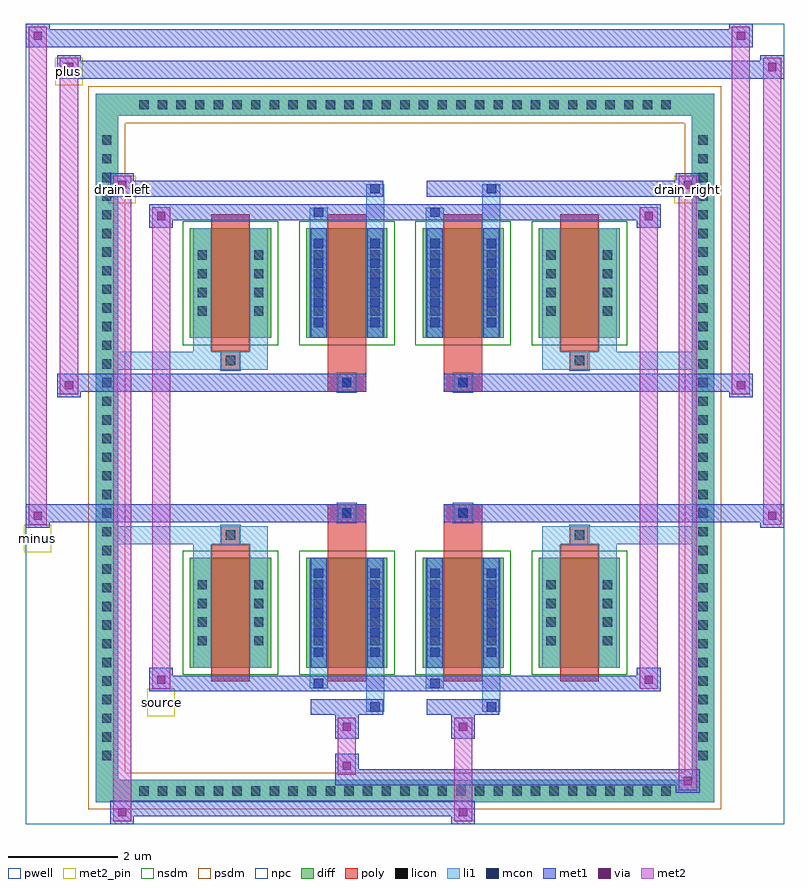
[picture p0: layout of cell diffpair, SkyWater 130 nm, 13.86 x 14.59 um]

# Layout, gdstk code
import gdstk
lib = gdstk.Library(unit=1e-6, precision=5e-09)
def R(c, l, rs):  # rectangles x0, y0, x1, y1
    for r in rs: c.add(gdstk.rectangle(r[:2], r[2:], *l))
def A(c, l, x, y, w, h, nx, ny, dx, dy):  # array of equal rectangles
    R(c, l, [(x+i*dx, y+j*dy, x+i*dx+w, y+j*dy+h) for i in range(nx) for j in range(ny)])
def P(c, l, *ps):  # polygons
    for p in ps: c.add(gdstk.Polygon(p, *l))
pwell = (64, 44)
diff = (65, 20)
poly = (66, 20)
licon = (66, 44)
li1 = (67, 20)
mcon = (67, 44)
met1 = (68, 20)
via = (68, 44)
met2_pin = (69, 16)
met2 = (69, 20)
nsdm = (93, 44)
psdm = (94, 20)
npc = (95, 20)

diffpair = lib.new_cell('diffpair')
R(diffpair, pwell, [(-6.91,-6.86,6.91,7.73), (-4.23,-5.05,-0.01,-0.825), (0.01,-5.05,4.23,-0.825), (-4.23,0.825,-0.01,5.05), (0.01,0.825,4.23,5.05)])
A(diffpair, diff, -4.965, -6.46, 0.41, 0.41, 29, 2, 0.34, 12.51)
A(diffpair, diff, -5.64, -5.815, 0.41, 0.41, 1, 34, 0, 0.34)
A(diffpair, diff, 5.23, -5.815, 0.41, 0.41, 1, 34, 0, 0.34)
A(diffpair, diff, -3.92, -4.005, 1.48, 2, 4, 2, 2.12, 6.01)
R(diffpair, diff, [(-4.965,-6.46,4.965,-6.05), (-5.64,-5.815,-5.23,5.815), (5.23,-5.815,5.64,5.815), (-4.965,6.05,4.965,6.46)])
P(diffpair, diff, [(5.64,6.46),(-5.64,6.46),(-5.64,-6.05),(-5.23,-6.05),(-5.23,6.05),(5.23,6.05),(5.23,-6.05),(-5.23,-6.05),(-5.64,-6.05),(-5.64,-6.46),(5.64,-6.46)])
A(diffpair, poly, -3.53, -4.255, 0.7, 2.5, 4, 2, 2.12, 6.01)
R(diffpair, poly, [(-3.345,-1.755,-3.015,-1.425), (-3.345,-1.755,-3.015,-1.425), (-1.41,-1.755,-0.71,-1.355), (0.71,-1.755,1.41,-1.355), (3.015,-1.755,3.345,-1.425), (3.015,-1.755,3.345,-1.425), (-1.41,-1.355,-0.71,-1.025), (-1.225,-1.355,-0.895,-1.025), (0.71,-1.355,1.41,-1.025), (0.895,-1.355,1.225,-1.025), (-1.41,1.025,-0.71,1.355), (-1.225,1.025,-0.895,1.355), (0.71,1.025,1.41,1.355), (0.895,1.025,1.225,1.355), (-1.41,1.355,-0.71,1.755), (0.71,1.355,1.41,1.755), (-3.345,1.425,-3.015,1.755), (-3.345,1.425,-3.015,1.755), (3.015,1.425,3.345,1.755), (3.015,1.425,3.345,1.755)])
A(diffpair, licon, -4.845, -6.34, 0.17, 0.17, 29, 2, 0.34, 12.51)
A(diffpair, licon, -5.52, -5.695, 0.17, 0.17, 1, 34, 0, 0.34)
A(diffpair, licon, 5.35, -5.695, 0.17, 0.17, 1, 34, 0, 0.34)
A(diffpair, licon, -3.78, -3.6, 0.17, 0.17, 1, 4, 0, 0.34)
A(diffpair, licon, -2.75, -3.6, 0.17, 0.17, 1, 4, 0, 0.34)
A(diffpair, licon, -1.66, -3.6, 0.17, 0.17, 1, 4, 0, 0.34)
A(diffpair, licon, -0.63, -3.6, 0.17, 0.17, 1, 4, 0, 0.34)
A(diffpair, licon, 0.46, -3.6, 0.17, 0.17, 1, 4, 0, 0.34)
A(diffpair, licon, 1.49, -3.6, 0.17, 0.17, 1, 4, 0, 0.34)
A(diffpair, licon, 2.58, -3.6, 0.17, 0.17, 1, 4, 0, 0.34)
A(diffpair, licon, 3.61, -3.6, 0.17, 0.17, 1, 4, 0, 0.34)
A(diffpair, licon, -3.78, 2.41, 0.17, 0.17, 1, 4, 0, 0.34)
A(diffpair, licon, -2.75, 2.41, 0.17, 0.17, 1, 4, 0, 0.34)
A(diffpair, licon, -1.66, 2.41, 0.17, 0.17, 1, 4, 0, 0.34)
A(diffpair, licon, -0.63, 2.41, 0.17, 0.17, 1, 4, 0, 0.34)
A(diffpair, licon, 0.46, 2.41, 0.17, 0.17, 1, 4, 0, 0.34)
A(diffpair, licon, 1.49, 2.41, 0.17, 0.17, 1, 4, 0, 0.34)
A(diffpair, licon, 2.58, 2.41, 0.17, 0.17, 1, 4, 0, 0.34)
A(diffpair, licon, 3.61, 2.41, 0.17, 0.17, 1, 4, 0, 0.34)
R(diffpair, licon, [(-3.265,-1.675,-3.095,-1.505), (3.095,-1.675,3.265,-1.505), (-1.145,-1.275,-0.975,-1.105), (0.975,-1.275,1.145,-1.105), (-1.145,1.105,-0.975,1.275), (0.975,1.105,1.145,1.275), (-3.265,1.505,-3.095,1.675), (3.095,1.505,3.265,1.675)])
A(diffpair, li1, -4.925, -6.42, 0.33, 0.33, 29, 2, 0.34, 12.51)
A(diffpair, li1, -5.6, -5.775, 0.33, 0.33, 1, 34, 0, 0.34)
A(diffpair, li1, 5.27, -5.775, 0.33, 0.33, 1, 34, 0, 0.34)
A(diffpair, li1, -1.66, -3.81, 0.17, 0.17, 1, 5, 0, 0.36)
A(diffpair, li1, -0.63, -3.81, 0.17, 0.17, 1, 5, 0, 0.36)
A(diffpair, li1, 0.46, -3.81, 0.17, 0.17, 1, 5, 0, 0.36)
A(diffpair, li1, 1.49, -3.81, 0.17, 0.17, 1, 5, 0, 0.36)
A(diffpair, li1, -3.86, -3.68, 0.33, 0.33, 1, 4, 0, 0.34)
A(diffpair, li1, -2.83, -3.68, 0.33, 0.33, 1, 4, 0, 0.34)
A(diffpair, li1, -1.74, -3.68, 0.33, 0.33, 1, 4, 0, 0.34)
A(diffpair, li1, -0.71, -3.68, 0.33, 0.33, 1, 4, 0, 0.34)
A(diffpair, li1, 0.38, -3.68, 0.33, 0.33, 1, 4, 0, 0.34)
A(diffpair, li1, 1.41, -3.68, 0.33, 0.33, 1, 4, 0, 0.34)
A(diffpair, li1, 2.5, -3.68, 0.33, 0.33, 1, 4, 0, 0.34)
A(diffpair, li1, 3.53, -3.68, 0.33, 0.33, 1, 4, 0, 0.34)
A(diffpair, li1, -1.66, 2.2, 0.17, 0.17, 1, 5, 0, 0.36)
A(diffpair, li1, -0.63, 2.2, 0.17, 0.17, 1, 5, 0, 0.36)
A(diffpair, li1, 0.46, 2.2, 0.17, 0.17, 1, 5, 0, 0.36)
A(diffpair, li1, 1.49, 2.2, 0.17, 0.17, 1, 5, 0, 0.36)
A(diffpair, li1, -3.86, 2.33, 0.33, 0.33, 1, 4, 0, 0.34)
A(diffpair, li1, -2.83, 2.33, 0.33, 0.33, 1, 4, 0, 0.34)
A(diffpair, li1, -1.74, 2.33, 0.33, 0.33, 1, 4, 0, 0.34)
A(diffpair, li1, -0.71, 2.33, 0.33, 0.33, 1, 4, 0, 0.34)
A(diffpair, li1, 0.38, 2.33, 0.33, 0.33, 1, 4, 0, 0.34)
A(diffpair, li1, 1.41, 2.33, 0.33, 0.33, 1, 4, 0, 0.34)
A(diffpair, li1, 2.5, 2.33, 0.33, 0.33, 1, 4, 0, 0.34)
A(diffpair, li1, 3.53, 2.33, 0.33, 0.33, 1, 4, 0, 0.34)
R(diffpair, li1, [(-5.64,-6.46,-5.23,-6.05), (-5.64,-6.46,-5.23,-6.05), (-5.23,-6.46,5.23,-6.05), (5.23,-6.46,5.64,-6.05), (5.23,-6.46,5.64,-6.05), (-5.64,-6.05,-5.23,6.05), (5.23,-6.05,5.64,6.05), (-0.71,-4.81,-0.38,-4.005), (-0.63,-4.81,-0.46,-4.64), (1.41,-4.81,1.74,-4.005), (1.49,-4.81,1.66,-4.64), (-1.74,-4.38,-1.41,-4.005), (-1.66,-4.38,-1.49,-4.21), (0.38,-4.38,0.71,-4.005), (0.46,-4.38,0.63,-4.21), (-3.86,-4.005,-3.53,-2.005), (-2.83,-4.005,-2.5,-2.005), (-1.74,-4.005,-1.41,-2.005), (-0.71,-4.005,-0.38,-2.005), (0.38,-4.005,0.71,-2.005), (1.41,-4.005,1.74,-2.005), (2.5,-4.005,2.83,-2.005), (3.53,-4.005,3.86,-2.005), (-1.66,-3.81,-1.49,-2.2), (-0.63,-3.81,-0.46,-2.2), (0.46,-3.81,0.63,-2.2), (1.49,-3.81,1.66,-2.2), (-3.86,-2.005,-3.53,-1.425), (-2.83,-2.005,-2.5,-1.425), (2.5,-2.005,2.83,-1.425), (3.53,-2.005,3.86,-1.425), (-5.64,-1.755,-3.345,-1.425), (-3.86,-1.755,-3.345,-1.425), (-3.345,-1.755,-3.015,-1.425), (-3.015,-1.755,-2.5,-1.425), (2.5,-1.755,3.015,-1.425), (3.015,-1.755,3.345,-1.425), (3.015,-1.755,5.64,-1.425), (3.345,-1.755,3.86,-1.425), (-1.225,-1.355,-0.895,-1.025), (0.895,-1.355,1.225,-1.025), (-1.225,1.025,-0.895,1.355), (0.895,1.025,1.225,1.355), (-5.64,1.425,-3.345,1.755), (-3.86,1.425,-3.345,1.755), (-3.86,1.425,-3.53,2.005), (-3.345,1.425,-3.015,1.755), (-3.015,1.425,-2.5,1.755), (-2.83,1.425,-2.5,2.005), (2.5,1.425,3.015,1.755), (2.5,1.425,2.83,2.005), (3.015,1.425,3.345,1.755), (3.015,1.425,5.64,1.755), (3.345,1.425,3.86,1.755), (3.53,1.425,3.86,2.005), (-3.86,2.005,-3.53,4.005), (-2.83,2.005,-2.5,4.005), (-1.74,2.005,-1.41,4.005), (-0.71,2.005,-0.38,4.005), (0.38,2.005,0.71,4.005), (1.41,2.005,1.74,4.005), (2.5,2.005,2.83,4.005), (3.53,2.005,3.86,4.005), (-1.66,2.2,-1.49,3.81), (-0.63,2.2,-0.46,3.81), (0.46,2.2,0.63,3.81), (1.49,2.2,1.66,3.81), (-1.74,4.005,-1.41,4.38), (-0.71,4.005,-0.38,4.81), (0.38,4.005,0.71,4.38), (1.41,4.005,1.74,4.81), (-1.66,4.21,-1.49,4.38), (0.46,4.21,0.63,4.38), (-0.63,4.64,-0.46,4.81), (1.49,4.64,1.66,4.81), (-5.64,6.05,-5.23,6.46), (-5.64,6.05,-5.23,6.46), (-5.23,6.05,5.23,6.46), (5.23,6.05,5.64,6.46), (5.23,6.05,5.64,6.46)])
A(diffpair, mcon, -1.66, -3.81, 0.17, 0.17, 1, 5, 0, 0.36)
A(diffpair, mcon, -0.63, -3.81, 0.17, 0.17, 1, 5, 0, 0.36)
A(diffpair, mcon, 0.46, -3.81, 0.17, 0.17, 1, 5, 0, 0.36)
A(diffpair, mcon, 1.49, -3.81, 0.17, 0.17, 1, 5, 0, 0.36)
A(diffpair, mcon, -1.66, 2.2, 0.17, 0.17, 1, 5, 0, 0.36)
A(diffpair, mcon, -0.63, 2.2, 0.17, 0.17, 1, 5, 0, 0.36)
A(diffpair, mcon, 0.46, 2.2, 0.17, 0.17, 1, 5, 0, 0.36)
A(diffpair, mcon, 1.49, 2.2, 0.17, 0.17, 1, 5, 0, 0.36)
R(diffpair, mcon, [(-0.63,-4.81,-0.46,-4.64), (1.49,-4.81,1.66,-4.64), (-1.66,-4.38,-1.49,-4.21), (0.46,-4.38,0.63,-4.21), (-1.145,-1.275,-0.975,-1.105), (0.975,-1.275,1.145,-1.105), (-1.145,1.105,-0.975,1.275), (0.975,1.105,1.145,1.275), (-1.66,4.21,-1.49,4.38), (0.46,4.21,0.63,4.38), (-0.63,4.64,-0.46,4.81), (1.49,4.64,1.66,4.81)])
A(diffpair, met1, -1.72, -3.87, 0.29, 0.29, 1, 5, 0, 0.36)
A(diffpair, met1, -0.69, -3.87, 0.29, 0.29, 1, 5, 0, 0.36)
A(diffpair, met1, 0.4, -3.87, 0.29, 0.29, 1, 5, 0, 0.36)
A(diffpair, met1, 1.43, -3.87, 0.29, 0.29, 1, 5, 0, 0.36)
A(diffpair, met1, -1.72, 2.14, 0.29, 0.29, 1, 5, 0, 0.36)
A(diffpair, met1, -0.69, 2.14, 0.29, 0.29, 1, 5, 0, 0.36)
A(diffpair, met1, 0.4, 2.14, 0.29, 0.29, 1, 5, 0, 0.36)
A(diffpair, met1, 1.43, 2.14, 0.29, 0.29, 1, 5, 0, 0.36)
R(diffpair, met1, [(-5.37,-6.86,-4.94,-6.43), (0.845,-6.86,1.275,-6.43), (-5.37,-6.72,1.275,-6.43), (4.94,-6.29,5.37,-5.86), (-1.275,-6.15,5.37,-5.86), (-1.275,-6.01,-0.845,-5.58), (-1.275,-5.3,-0.845,-4.87), (0.845,-5.3,1.275,-4.87), (-1.72,-4.87,-0.4,-4.58), (-0.69,-4.87,-0.4,-4.58), (0.4,-4.87,1.72,-4.58), (1.43,-4.87,1.72,-4.58), (-4.66,-4.44,-4.23,-4.01), (-4.66,-4.44,-1.72,-4.15), (-1.72,-4.44,-1.43,-4.15), (-1.72,-4.44,-0.4,-4.15), (-0.4,-4.44,0.4,-4.15), (0.4,-4.44,0.69,-4.15), (0.4,-4.44,1.72,-4.15), (1.72,-4.44,4.66,-4.15), (4.23,-4.44,4.66,-4.01), (-1.72,-4.005,-1.43,-2.005), (-0.69,-4.005,-0.4,-2.005), (0.4,-4.005,0.69,-2.005), (1.43,-4.005,1.72,-2.005), (-6.91,-1.455,-6.48,-1.025), (6.48,-1.455,6.91,-1.025), (-6.91,-1.355,-0.71,-1.025), (-1.41,-1.355,-0.71,-1.025), (0.71,-1.355,1.41,-1.025), (0.71,-1.355,6.91,-1.025), (-1.205,-1.335,-0.915,-1.045), (0.915,-1.335,1.205,-1.045), (-6.34,0.925,-5.91,1.355), (5.91,0.925,6.34,1.355), (-6.34,1.025,-1.41,1.355), (-1.41,1.025,-0.71,1.355), (0.71,1.025,1.41,1.355), (1.41,1.025,6.34,1.355), (-1.205,1.045,-0.915,1.335), (0.915,1.045,1.205,1.335), (-1.72,2.005,-1.43,4.005), (-0.69,2.005,-0.4,4.005), (0.4,2.005,0.69,4.005), (1.43,2.005,1.72,4.005), (-4.66,4.01,-4.23,4.44), (4.23,4.01,4.66,4.44), (-4.66,4.15,-1.72,4.44), (-1.72,4.15,-1.43,4.44), (-1.72,4.15,-0.4,4.44), (-0.4,4.15,0.4,4.44), (0.4,4.15,0.69,4.44), (0.4,4.15,1.72,4.44), (1.72,4.15,4.66,4.44), (-5.37,4.58,-4.94,5.01), (-5.37,4.58,-1.72,4.87), (-1.72,4.58,-0.4,4.87), (-0.69,4.58,-0.4,4.87), (0.4,4.58,1.72,4.87), (1.43,4.58,1.72,4.87), (1.72,4.58,5.37,4.87), (4.94,4.58,5.37,5.01), (-6.34,6.73,-5.91,7.16), (-6.34,6.73,-4.23,7.06), (-4.23,6.73,4.23,7.06), (4.23,6.73,6.91,7.06), (6.48,6.73,6.91,7.16), (-6.91,7.3,-6.48,7.73), (-6.91,7.3,-4.23,7.63), (-4.23,7.3,4.23,7.63), (4.23,7.3,6.34,7.63), (5.91,7.3,6.34,7.73)])
R(diffpair, via, [(-5.23,-6.72,-5.08,-6.57), (0.985,-6.72,1.135,-6.57), (5.08,-6.15,5.23,-6), (-1.135,-5.87,-0.985,-5.72), (-1.135,-5.16,-0.985,-5.01), (0.985,-5.16,1.135,-5.01), (-4.52,-4.3,-4.37,-4.15), (4.37,-4.3,4.52,-4.15), (-6.77,-1.315,-6.62,-1.165), (6.62,-1.315,6.77,-1.165), (-6.2,1.065,-6.05,1.215), (6.05,1.065,6.2,1.215), (-4.52,4.15,-4.37,4.3), (4.37,4.15,4.52,4.3), (-5.23,4.72,-5.08,4.87), (5.08,4.72,5.23,4.87), (-6.2,6.87,-6.05,7.02), (6.62,6.87,6.77,7.02), (-6.77,7.44,-6.62,7.59), (6.05,7.44,6.2,7.59)])
R(diffpair, met2_pin, [(-4.695,-4.89,-4.195,-4.39), (-6.945,-1.905,-6.445,-1.405), (-5.405,4.46,-4.905,4.96), (4.905,4.46,5.405,4.96), (-6.375,6.61,-5.875,7.11)])
R(diffpair, met2, [(-5.32,-6.81,-4.99,-6.48), (-5.32,-6.81,-4.99,4.96), (0.895,-6.81,1.225,-6.48), (0.895,-6.48,1.225,-5.25), (4.99,-6.24,5.32,-5.91), (4.99,-6.24,5.32,4.96), (-1.225,-5.96,-0.895,-5.63), (-1.225,-5.63,-0.895,-5.25), (-1.225,-5.25,-0.895,-4.92), (0.895,-5.25,1.225,-4.92), (-4.61,-4.39,-4.28,-4.06), (-4.61,-4.39,-4.28,4.39), (4.28,-4.39,4.61,-4.06), (4.28,-4.39,4.61,4.39), (-6.86,-1.405,-6.53,-1.075), (-6.86,-1.405,-6.53,7.68), (6.53,-1.405,6.86,-1.075), (6.53,-1.405,6.86,7.11), (-6.29,0.975,-5.96,1.305), (-6.29,0.975,-5.96,7.11), (5.96,0.975,6.29,1.305), (5.96,0.975,6.29,7.68), (-4.61,4.06,-4.28,4.39), (4.28,4.06,4.61,4.39), (-5.32,4.63,-4.99,4.96), (4.99,4.63,5.32,4.96), (-6.29,6.78,-5.96,7.11), (6.53,6.78,6.86,7.11), (-6.86,7.35,-6.53,7.68), (5.96,7.35,6.29,7.68)])
P(diffpair, met2, [(6.86,-1.405),(6.86,-1.405),(6.86,-1.075),(6.86,-1.075)],
  [(6.86,6.78),(6.86,6.78),(6.86,7.11),(6.86,7.11)],
  [(-6.53,-1.405),(-6.53,-1.405),(-6.53,-1.075),(-6.53,-1.075)],
  [(-6.53,7.35),(-6.53,7.35),(-6.53,7.68),(-6.53,7.68)],
  [(6.29,0.975),(6.29,0.975),(6.29,1.305),(6.29,1.305)],
  [(6.29,7.35),(6.29,7.35),(6.29,7.68),(6.29,7.68)],
  [(-5.96,0.975),(-5.96,0.975),(-5.96,1.305),(-5.96,1.305)],
  [(-5.96,6.78),(-5.96,6.78),(-5.96,7.11),(-5.96,7.11)],
  [(-4.99,-6.81),(-4.99,-6.81),(-4.99,-6.48),(-4.99,-6.48)],
  [(-4.99,4.63),(-4.99,4.63),(-4.99,4.96),(-4.99,4.96)],
  [(5.32,-6.24),(5.32,-6.24),(5.32,-5.91),(5.32,-5.91)],
  [(5.32,4.63),(5.32,4.63),(5.32,4.96),(5.32,4.96)],
  [(-4.28,-4.39),(-4.28,-4.39),(-4.28,-4.06),(-4.28,-4.06)],
  [(-4.28,4.06),(-4.28,4.06),(-4.28,4.39),(-4.28,4.39)],
  [(4.61,-4.39),(4.61,-4.39),(4.61,-4.06),(4.61,-4.06)],
  [(4.61,4.06),(4.61,4.06),(4.61,4.39),(4.61,4.39)])
A(diffpair, nsdm, -4.05, -4.135, 1.74, 2.26, 4, 2, 2.12, 6.01)
P(diffpair, psdm, [(5.77,6.59),(-5.77,6.59),(-5.77,-5.92),(-5.1,-5.92),(-5.1,5.92),(5.1,5.92),(5.1,-5.92),(-5.1,-5.92),(-5.77,-5.92),(-5.77,-6.59),(5.77,-6.59)])
R(diffpair, npc, [(-3.365,-1.775,-2.995,-1.405), (2.995,-1.775,3.365,-1.405), (-1.245,-1.375,-0.875,-1.005), (0.875,-1.375,1.245,-1.005), (-1.245,1.005,-0.875,1.375), (0.875,1.005,1.245,1.375), (-3.365,1.405,-2.995,1.775), (2.995,1.405,3.365,1.775)])
diffpair.add(gdstk.Label('minus', (-6.695,-1.655), layer=69, texttype=5))
diffpair.add(gdstk.Label('drain_right', (5.155,4.71), layer=69, texttype=5))
diffpair.add(gdstk.Label('drain_left', (-5.155,4.71), layer=69, texttype=5))
diffpair.add(gdstk.Label('source', (-4.445,-4.64), layer=69, texttype=5))
diffpair.add(gdstk.Label('plus', (-6.125,6.86), layer=69, texttype=5))

lib.write_gds('diffpair.gds')
